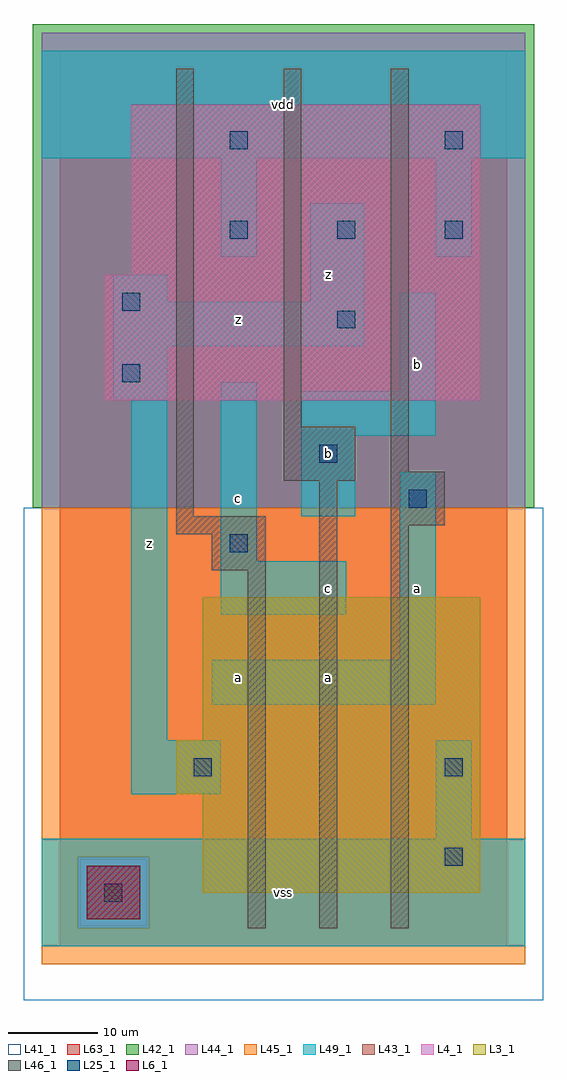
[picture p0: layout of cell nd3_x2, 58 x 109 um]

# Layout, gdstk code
import gdstk
lib = gdstk.Library(unit=1e-6, precision=1e-09)
def R(c, l, rs):  # rectangles x0, y0, x1, y1
    for r in rs: c.add(gdstk.rectangle(r[:2], r[2:], *l))
def A(c, l, x, y, w, h, nx, ny, dx, dy):  # array of equal rectangles
    R(c, l, [(x+i*dx, y+j*dy, x+i*dx+w, y+j*dy+h) for i in range(nx) for j in range(ny)])
L3_1 = (3, 1)
L4_1 = (4, 1)
L6_1 = (6, 1)
L25_1 = (25, 1)
L41_1 = (41, 1)
L42_1 = (42, 1)
L43_1 = (43, 1)
L44_1 = (44, 1)
L45_1 = (45, 1)
L46_1 = (46, 1)
L49_1 = (49, 1)
L63_1 = (63, 1)

nd3_x2 = lib.new_cell('nd3_x2')
R(nd3_x2, L3_1, [(16,6,47,17), (13,17,47,23), (16,23,47,39)])
R(nd3_x2, L4_1, [(5,61,47,75), (8,75,47,94)])
R(nd3_x2, L6_1, [(3,3,9,9)])
A(nd3_x2, L25_1, 19, 79, 2, 2, 3, 1, 12, 0)
R(nd3_x2, L25_1, [(5,5,7,7), (43,9,45,11), (15,19,17,21), (43,19,45,21), (19,44,21,46), (39,49,41,51), (29,54,31,56), (7,63,9,65), (31,69,33,71), (7,71,9,73), (19,89,21,91), (43,89,45,91)])
R(nd3_x2, L41_1, [(-4,-6,54,49), (-3,-3,53,49)])
R(nd3_x2, L42_1, [(-3,49,53,103)])
R(nd3_x2, L43_1, [(3,3,9,9), (16,6,47,17), (13,17,47,23), (16,23,47,39), (5,61,47,75), (8,75,47,94)])
R(nd3_x2, L44_1, [(2,2,10,10), (-2,49,52,102)])
R(nd3_x2, L45_1, [(-2,-2,52,2), (-2,2,2,10), (10,2,52,10), (-2,10,52,49)])
R(nd3_x2, L46_1, [(21,2,23,42), (29,2,31,52), (37,2,39,47), (17,42,23,46), (13,46,23,48), (37,47,43,53), (13,48,15,98), (25,52,33,58), (37,53,39,98), (25,58,27,98)])
R(nd3_x2, L49_1, [(-2,0,52,12), (42,12,46,23), (8,17,18,23), (8,23,12,61), (17,27,42,32), (38,32,42,53), (18,37,32,43), (18,43,22,63), (27,48,33,57), (27,57,42,62), (6,61,12,67), (38,62,42,73), (6,67,34,72), (6,72,12,75), (28,72,34,83), (18,77,22,88), (42,77,46,88), (-2,88,52,100)])
R(nd3_x2, L63_1, [(0,0,50,100)])
nd3_x2.add(gdstk.Label('z', (10,45), layer=49, texttype=1))
nd3_x2.add(gdstk.Label('z', (10,45), layer=49, texttype=1))
nd3_x2.add(gdstk.Label('vss', (25,6), layer=49, texttype=1))
nd3_x2.add(gdstk.Label('vss', (25,6), layer=49, texttype=1))
nd3_x2.add(gdstk.Label('a', (20,30), layer=49, texttype=1))
nd3_x2.add(gdstk.Label('a', (20,30), layer=49, texttype=1))
nd3_x2.add(gdstk.Label('c', (20,50), layer=49, texttype=1))
nd3_x2.add(gdstk.Label('c', (20,50), layer=49, texttype=1))
nd3_x2.add(gdstk.Label('z', (20,70), layer=49, texttype=1))
nd3_x2.add(gdstk.Label('z', (20,70), layer=49, texttype=1))
nd3_x2.add(gdstk.Label('vdd', (25,94), layer=49, texttype=1))
nd3_x2.add(gdstk.Label('vdd', (25,94), layer=49, texttype=1))
nd3_x2.add(gdstk.Label('a', (30,30), layer=49, texttype=1))
nd3_x2.add(gdstk.Label('a', (30,30), layer=49, texttype=1))
nd3_x2.add(gdstk.Label('c', (30,40), layer=49, texttype=1))
nd3_x2.add(gdstk.Label('c', (30,40), layer=49, texttype=1))
nd3_x2.add(gdstk.Label('b', (30,55), layer=49, texttype=1))
nd3_x2.add(gdstk.Label('b', (30,55), layer=49, texttype=1))
nd3_x2.add(gdstk.Label('z', (30,75), layer=49, texttype=1))
nd3_x2.add(gdstk.Label('z', (30,75), layer=49, texttype=1))
nd3_x2.add(gdstk.Label('a', (40,40), layer=49, texttype=1))
nd3_x2.add(gdstk.Label('a', (40,40), layer=49, texttype=1))
nd3_x2.add(gdstk.Label('b', (40,65), layer=49, texttype=1))
nd3_x2.add(gdstk.Label('b', (40,65), layer=49, texttype=1))

lib.write_gds('nd3_x2.gds')
